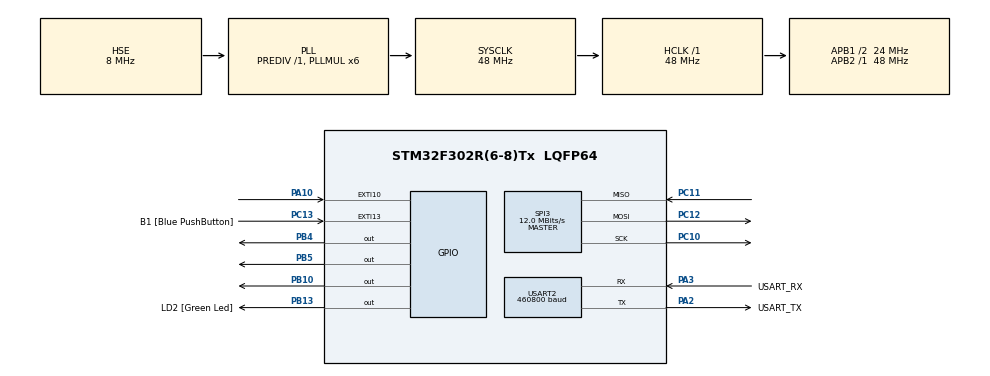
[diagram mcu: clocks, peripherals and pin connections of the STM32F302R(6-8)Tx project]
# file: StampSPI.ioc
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FREERTOS.Queues01=dataQueue,128,uint32_t,0,Dynamic,NULL,NULL
FREERTOS.Tasks01=measureTask,24,128,StartMeasurement,Default,NULL,Dynamic,NULL,NULL;UARTTransmit,24,128,TransmitTask,Default,NULL,Dynamic,NULL,NULL;HeartBeat,8,128,HeartBeatTask,Default,NULL,Dynamic,NULL,NULL
Mcu.Family=STM32F3
Mcu.Name=STM32F302R(6-8)Tx
Mcu.Package=LQFP64
NVIC.EXTI15_10_IRQn=true\:5\:0\:false\:false\:true\:true\:true\:true
NVIC.PriorityGroup=NVIC_PRIORITYGROUP_4
NVIC.TIM1_UP_TIM16_IRQn=true\:0\:0\:false\:false\:true\:false\:false\:true
NVIC.TimeBase=TIM1_UP_TIM16_IRQn
NVIC.TimeBaseIP=TIM1
NVIC.USART2_IRQn=true\:5\:0\:false\:false\:true\:true\:true\:true
PA10.Signal=GPXTI10
PA13.GPIO_Label=TMS
PA13.Mode=Serial_Wire
PA13.Signal=SYS_JTMS-SWDIO
PA14.GPIO_Label=TCK
PA14.Mode=Serial_Wire
PA14.Signal=SYS_JTCK-SWCLK
PA2.GPIO_Label=USART_TX
PA2.GPIO_Mode=GPIO_MODE_AF_PP
PA2.GPIO_PuPd=GPIO_NOPULL
PA2.GPIO_Speed=GPIO_SPEED_FREQ_LOW
PA2.Mode=Asynchronous
PA2.Signal=USART2_TX
PA3.GPIO_Label=USART_RX
PA3.GPIO_Mode=GPIO_MODE_AF_PP
PA3.GPIO_PuPd=GPIO_NOPULL
PA3.GPIO_Speed=GPIO_SPEED_FREQ_LOW
PA3.Mode=Asynchronous
PA3.Signal=USART2_RX
PB10.Signal=GPIO_Output
PB13.GPIO_Label=LD2 [Green Led]
PB13.Signal=GPIO_Output
PB3.GPIO_Label=SWO
PB3.Mode=Trace_Asynchronous_SW
PB3.Signal=SYS_JTDO-TRACESWO
PB4.Signal=GPIO_Output
PB5.Signal=GPIO_Output
PC10.Mode=Full_Duplex_Master
PC10.Signal=SPI3_SCK
PC11.Mode=Full_Duplex_Master
PC11.Signal=SPI3_MISO
PC12.Mode=Full_Duplex_Master
PC12.Signal=SPI3_MOSI
PC13.GPIO_Label=B1 [Blue PushButton]
PC13.GPIO_ModeDefaultEXTI=GPIO_MODE_IT_FALLING
PC13.Signal=GPXTI13
PC14\ -\ OSC32_IN.Mode=LSE-External-Oscillator
PC14\ -\ OSC32_IN.Signal=RCC_OSC32_IN
PC15\ -\ OSC32_OUT.Mode=LSE-External-Oscillator
PC15\ -\ OSC32_OUT.Signal=RCC_OSC32_OUT
PF0-OSC_IN.Mode=HSE-External-Clock-Source
PF0-OSC_IN.Signal=RCC_OSC_IN
PF1-OSC_OUT.Signal=RCC_OSC_OUT
ProjectManager.HeapSize=0x200
ProjectManager.StackSize=0x400
ProjectManager.TargetToolchain=STM32CubeIDE
RCC.ADC12PRES=RCC_ADC1PLLCLK_DIV32
RCC.AHBFreq_Value=48000000
RCC.APB1CLKDivider=RCC_HCLK_DIV2
RCC.APB1Freq_Value=24000000
RCC.APB1TimFreq_Value=48000000
RCC.APB2Freq_Value=48000000
RCC.APB2TimFreq_Value=48000000
RCC.CortexFreq_Value=48000000
RCC.HCLKFreq_Value=48000000
RCC.HSE_VALUE=8000000
RCC.HSI_VALUE=8000000
RCC.PLLM=8
RCC.PLLMUL=RCC_PLL_MUL6
RCC.PLLN=336
RCC.PLLP=RCC_PLLP_DIV4
RCC.PLLQ=7
RCC.PLLSourceVirtual=RCC_PLLSOURCE_HSE
RCC.SYSCLKFreq_VALUE=48000000
RCC.SYSCLKSourceVirtual=RCC_SYSCLKSOURCE_PLLCLK
RCC.USBFreq_Value=48000000
SPI3.CalculateBaudRate=12.0 MBits/s
SPI3.DataSize=SPI_DATASIZE_8BIT
SPI3.Direction=SPI_DIRECTION_2LINES
SPI3.Mode=SPI_MODE_MASTER
SPI3.VirtualType=VM_MASTER
USART2.BaudRate=460800
USART2.VirtualMode-Asynchronous=VM_ASYNC
VP_CRC_VS_CRC.Mode=CRC_Activate
VP_FREERTOS_VS_CMSIS_V2.Mode=CMSIS_V2
VP_SYS_VS_tim1.Mode=TIM1
board=NUCLEO-F302R8

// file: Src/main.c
/* USER CODE BEGIN Header */
/**
 ******************************************************************************
 * @file           : main.c
 * @brief          : Main program body
 ******************************************************************************
 * @attention
 *
 * <h2><center>&copy; Copyright (c) 2020 STMicroelectronics.
 * All rights reserved.</center></h2>
 *
 * This software component is licensed by ST under Ultimate Liberty license
 * SLA0044, the "License"; You may not use this file except in compliance with
 * the License. You may obtain a copy of the License at:
 *                             www.st.com/SLA0044
 *
 ******************************************************************************
 */
/* USER CODE END Header */

#include "main.h"
#include "cmsis_os.h"
#include "crc.h"
#include "spi.h"
#include "usart.h"
#include "gpio.h"

/* USER CODE BEGIN Includes */
#include "MyDefine.h"
/* USER CODE END Includes */

/* USER CODE BEGIN PD */
#define BAUD 460800
/* USER CODE END PD */

/* USER CODE BEGIN PM */
uint16_t globaldata[WATERMARK_MAX] = { 0 };
uint32_t watermark = 0;

//Commands
uint8_t receivingdata[4] = {1,1,1,1};
uint8_t readdata[4]= {0x12,0xff,0xff,0xff}; // READ DATA Befehlssatz
uint8_t readregister[2]= {0x20, 0x03}; // READ Register Befehlssatz
uint8_t nop[2] = {0xff,0xff}; // NOP Befehle
uint8_t transmitdata[3] = {0x12, 0xff, 0xff};// READ DATA Befehlssatz und 16 SCLK's
uint16_t result[300] = {0};//FANGVARIABLE
int i = 0;
uint8_t registervalue[6]={9,9,9,9,9,9}; //ERGEBNIS des Registers
uint8_t reset_command[1] = {0x06};
uint8_t sdatac_command[1] = {0x16};
uint8_t wreg_command[6] = {0x40, 0x03, 0x01, 0x00, 0x03, 0x42};//BCS -> RESET dann CHANNEL ANX0 auswahl
uint8_t sync_command[1] = {0x04};
uint16_t buffer[1] = {0};

/* USER CODE END PM */

/* USER CODE BEGIN PV */
extern osMessageQueueId_t dataQueueHandle;
/* USER CODE END PV */

void SystemClock_Config(void);
void MX_FREERTOS_Init(void);

/* USER CODE BEGIN 0 */
//void HAL_ADC_ConvCpltCallback(ADC_HandleTypeDef *hadc) {
//	uint32_t data = HAL_ADC_GetValue(&hadc);
//	uint8_t msg[100];
//	sprintf(msg, "%d\n\r\0", data);
//	HAL_UART_Transmit(&huart2, msg, strlen(msg), 10);
//}
/* USER CODE END 0 */

int main(void)
{

  /* MCU Configuration--------------------------------------------------------*/

  /* Reset of all peripherals, Initializes the Flash interface and the Systick. */
  HAL_Init();

  /* Configure the system clock */
  SystemClock_Config();

  /* Initialize all configured peripherals */
  MX_GPIO_Init();
  MX_USART2_UART_Init();
  MX_CRC_Init();
  MX_SPI3_Init();

  /* Init scheduler */
  osKernelInitialize();  /* Call init function for freertos objects (in freertos.c) */
  MX_FREERTOS_Init();
  /* Start scheduler */
  osKernelStart();

  /* We should never get here as control is now taken by the scheduler */
  /* Infinite loop */
	while (1) {

	}
}

void SystemClock_Config(void)
{
  RCC_OscInitTypeDef RCC_OscInitStruct = {0};
  RCC_ClkInitTypeDef RCC_ClkInitStruct = {0};

  /** Initializes the CPU, AHB and APB busses clocks
  */
  RCC_OscInitStruct.OscillatorType = RCC_OSCILLATORTYPE_HSE;
  RCC_OscInitStruct.HSEState = RCC_HSE_BYPASS;
  RCC_OscInitStruct.HSEPredivValue = RCC_HSE_PREDIV_DIV1;
  RCC_OscInitStruct.HSIState = RCC_HSI_ON;
  RCC_OscInitStruct.PLL.PLLState = RCC_PLL_ON;
  RCC_OscInitStruct.PLL.PLLSource = RCC_PLLSOURCE_HSE;
  RCC_OscInitStruct.PLL.PLLMUL = RCC_PLL_MUL6;
  if (HAL_RCC_OscConfig(&RCC_OscInitStruct) != HAL_OK)
  {
    Error_Handler();
  }
  /** Initializes the CPU, AHB and APB busses clocks
  */
  RCC_ClkInitStruct.ClockType = RCC_CLOCKTYPE_HCLK|RCC_CLOCKTYPE_SYSCLK
                              |RCC_CLOCKTYPE_PCLK1|RCC_CLOCKTYPE_PCLK2;
  RCC_ClkInitStruct.SYSCLKSource = RCC_SYSCLKSOURCE_PLLCLK;
  RCC_ClkInitStruct.AHBCLKDivider = RCC_SYSCLK_DIV1;
  RCC_ClkInitStruct.APB1CLKDivider = RCC_HCLK_DIV2;
  RCC_ClkInitStruct.APB2CLKDivider = RCC_HCLK_DIV1;

  if (HAL_RCC_ClockConfig(&RCC_ClkInitStruct, FLASH_LATENCY_1) != HAL_OK)
  {
    Error_Handler();
  }
}

 /**
  * @brief  Period elapsed callback in non blocking mode
  * @note   This function is called  when TIM1 interrupt took place, inside
  * HAL_TIM_IRQHandler(). It makes a direct call to HAL_IncTick() to increment
  * a global variable "uwTick" used as application time base.
  * @param  htim : TIM handle
  * @retval None
  */
void HAL_TIM_PeriodElapsedCallback(TIM_HandleTypeDef *htim)
{
  if (htim->Instance == TIM1) {
    HAL_IncTick();
  }
}

void Error_Handler(void)
{
}

/************************ (C) COPYRIGHT STMicroelectronics *****END OF FILE****/

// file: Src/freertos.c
/* USER CODE BEGIN Header */
/**
 ******************************************************************************
 * File Name          : freertos.c
 * Description        : Code for freertos applications
 ******************************************************************************
 * @attention
 *
 * <h2><center>&copy; Copyright (c) 2020 STMicroelectronics.
 * All rights reserved.</center></h2>
 *
 * This software component is licensed by ST under Ultimate Liberty license
 * SLA0044, the "License"; You may not use this file except in compliance with
 * the License. You may obtain a copy of the License at:
 *                             www.st.com/SLA0044
 *
 ******************************************************************************
 */
/* USER CODE END Header */

#include "FreeRTOS.h"
#include "task.h"
#include "main.h"
#include "cmsis_os.h"

/* USER CODE BEGIN Includes */
#include "signal.h"
#include "usart.h"
#include "MyDefine.h"
#include <string.h>
#include <stdio.h>
/* USER CODE END Includes */

/* Definitions for measureTask */
osThreadId_t measureTaskHandle;
const osThreadAttr_t measureTask_attributes = {
  .name = "measureTask",
  .priority = (osPriority_t) osPriorityNormal,
  .stack_size = 128 * 4
};
/* Definitions for UARTTransmit */
osThreadId_t UARTTransmitHandle;
const osThreadAttr_t UARTTransmit_attributes = {
  .name = "UARTTransmit",
  .priority = (osPriority_t) osPriorityNormal,
  .stack_size = 128 * 4
};
/* Definitions for HeartBeat */
osThreadId_t HeartBeatHandle;
const osThreadAttr_t HeartBeat_attributes = {
  .name = "HeartBeat",
  .priority = (osPriority_t) osPriorityLow,
  .stack_size = 128 * 4
};
/* Definitions for dataQueue */
osMessageQueueId_t dataQueueHandle;
const osMessageQueueAttr_t dataQueue_attributes = {
  .name = "dataQueue"
};

/* USER CODE BEGIN FunctionPrototypes */
extern uint16_t globaldata[];
extern uint32_t watermark;
/* USER CODE END FunctionPrototypes */

void StartMeasurement(void *argument);
void TransmitTask(void *argument);
void HeartBeatTask(void *argument);

void MX_FREERTOS_Init(void); /* (MISRA C 2004 rule 8.1) */

void MX_FREERTOS_Init(void) {

  /* Create the queue(s) */
  /* creation of dataQueue */
  dataQueueHandle = osMessageQueueNew (128, sizeof(uint32_t), &dataQueue_attributes);

  /* Create the thread(s) */
  /* creation of measureTask */
  measureTaskHandle = osThreadNew(StartMeasurement, NULL, &measureTask_attributes);

  /* creation of UARTTransmit */
  UARTTransmitHandle = osThreadNew(TransmitTask, NULL, &UARTTransmit_attributes);

  /* creation of HeartBeat */
  HeartBeatHandle = osThreadNew(HeartBeatTask, NULL, &HeartBeat_attributes);

}

void StartMeasurement(void *argument)
{
  /* USER CODE BEGIN StartMeasurement */
	/* Infinite loop */
	uint8_t cmd;
	osStatus_t status = {0};
	//HAL_UART_Transmit(&huart2, &d, 1,0);
	HAL_UART_Receive_IT(&huart2, &cmd, 1);

	for (;;) {

		osDelay(1);
	}
  /* USER CODE END StartMeasurement */
}

void TransmitTask(void *argument)
{
  /* USER CODE BEGIN TransmitTask */
	/* Infinite loop */
	osStatus_t status = {0};
	for (;;) {

		osDelay(1);
	}
  /* USER CODE END TransmitTask */
}

void HeartBeatTask(void *argument)
{
  /* USER CODE BEGIN HeartBeatTask */
	uint32_t running = 0;
	/* Infinite loop */
	for (;;) {
		if (running == 0) {
			osThreadFlagsWait(ThreadFlagHBStart, osFlagsWaitAny, osWaitForever);
			running = 1;
		} else {
			osStatus_t status = osThreadFlagsWait(ThreadFlagHBStop, osFlagsWaitAny, 100);
			if (status == osErrorTimeout ) {
				HAL_GPIO_TogglePin(LD2_GPIO_Port, LD2_Pin);
			} else {
				running = 0;
			}
		}
	}
  /* USER CODE END HeartBeatTask */
}

/************************ (C) COPYRIGHT STMicroelectronics *****END OF FILE****/
